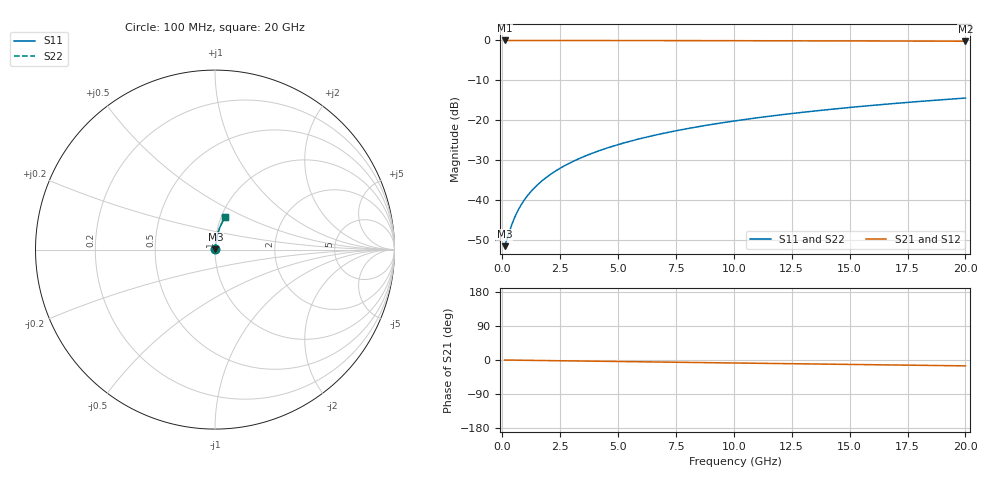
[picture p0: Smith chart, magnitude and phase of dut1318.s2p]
! Touchstone file exported from HFSS 2026.1.0
!  File:  C:/ffzhzh/LocalFiles/Ansys_Project_Files/temp_train_TMRDL_1318_1783164976_43440.aedt
!  Generated:  07:37:31 PM Jul  4, 2026
!  Design:  TMRDL
!  Project:  temp_train_TMRDL_1318_1783164976_43440
! Variables:
!  h_bsmrdl = 2um
!  h_ox = 20um
!  h_rdl = 5um
!  h_sub = 80um
!  h_tmrdl = 2.47um
!  h_tsv = 80um
!  h_via = 3um
!  l_bsmrdl = 300um
!  l_sub = 570.16um
!  l_tmrdl = 170.16um
!  m_sub = 200um
!  pitch = 36.42um
!  r_tsv = 6um
!  s_tmrdl = 10um
!  w_bsmrdl = 18um
!  w_sub = 500um
!  w_tmrdl = 11.16um
!  x_tsv_center1 = 175.74um
!  x_tsv_center2 = 493.74um
!  x_tsv_center3 = 675.06um
!  x_tsv_center4 = 993.06um
!  x_tsv_center5 = 1174.38um
!  x_tsv_center6 = 1492.38um
# GHz S MA R 50.000000
! Terminal data exported
! Port[1] = TM_RDL1_1_T1
! Port[2] = TM_RDL1_1_T2
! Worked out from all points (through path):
!   200 points, 100 MHz to 20 GHz, reference 50 ohm
!   highest |S21| = -0.02 dB at 100 MHz (marker M1); lowest = -0.2 dB at 20 GHz (marker M2)
!   group delay of S21, straight-line fit = 2.15 ps
!   lowest |S11| = -51.6 dB at 100 MHz (marker M3), VSWR 1.01, Z = 50.2 + j0.104 ohm
!   |S11| at or under -10 dB: start of sweep to end of sweep
!   |S22| runs from -51.6 to -14.5 dB; largest |S21 - S12| = 3e-15
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0.1  0.002627 23.1  0.9976 -0.1  0.9976 -0.1  0.002627 23.1
! Gamma 0 0 0 0
! Port Impedance 50 0 50 0
0.4  0.004804 58.6  0.9975 -0.3  0.9975 -0.3  0.004804 58.6
0.5  0.005708 63.5  0.9975 -0.4  0.9975 -0.4  0.005708 63.5
0.6  0.006637 66.9  0.9974 -0.5  0.9974 -0.5  0.006637 66.9
0.7  0.00758 69.5  0.9974 -0.6  0.9974 -0.6  0.00758 69.5
0.9  0.009483 73.1  0.9973 -0.7  0.9973 -0.7  0.009483 73.1
1.2  0.01236 76.3  0.9972 -1.0  0.9972 -1.0  0.01236 76.3
1.4  0.01428 77.7  0.9971 -1.1  0.9971 -1.1  0.01428 77.7
1.7  0.01718 79.2  0.997 -1.4  0.997 -1.4  0.01718 79.2
2.2  0.02203 80.7  0.9969 -1.8  0.9969 -1.8  0.02203 80.7
2.8  0.02787 81.7  0.9967 -2.2  0.9967 -2.2  0.02787 81.7
3.5  0.03469 82.2  0.9964 -2.8  0.9964 -2.8  0.03469 82.2
4.2  0.04151 82.4  0.996 -3.3  0.996 -3.3  0.04151 82.4
5  0.04929 82.3  0.9956 -4.0  0.9956 -4.0  0.04929 82.3
5.9  0.05803 82.0  0.995 -4.7  0.995 -4.7  0.05803 82.0
6.8  0.06674 81.6  0.9943 -5.4  0.9943 -5.4  0.06674 81.6
8.3  0.08118 80.8  0.993 -6.6  0.993 -6.6  0.08118 80.8
10.1  0.09834 79.7  0.9911 -8.0  0.9911 -8.0  0.09834 79.7
11.7  0.1134 78.6  0.9892 -9.2  0.9892 -9.2  0.1134 78.6
13.4  0.1293 77.4  0.9869 -10.5  0.9869 -10.5  0.1293 77.4
16.7  0.1596 75.1  0.9819 -13.0  0.9819 -13.0  0.1596 75.1
20  0.1891 72.7  0.976 -15.5  0.976 -15.5  0.1891 72.7
